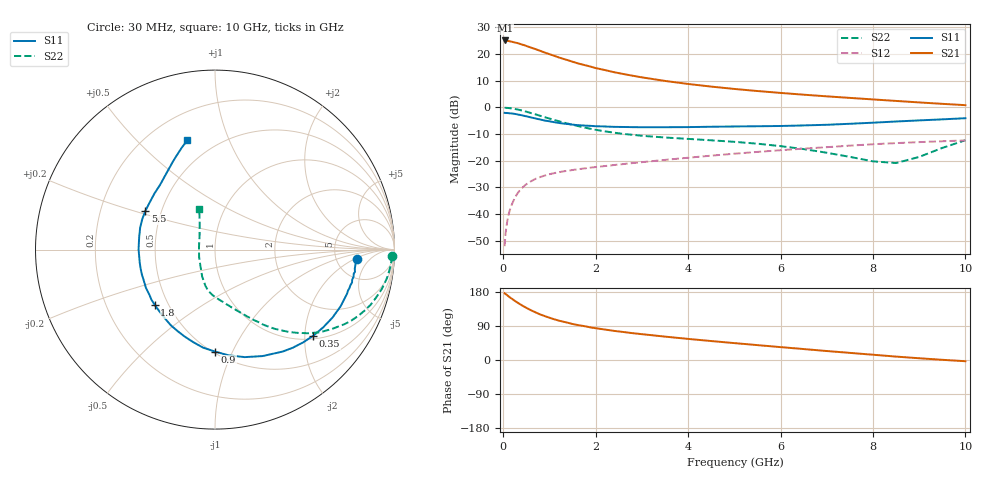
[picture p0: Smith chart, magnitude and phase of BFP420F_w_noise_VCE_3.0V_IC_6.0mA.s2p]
! Infineon Technologies  Discrete & RF Semiconductors
! BFP420F
! VCE =  3.0 V,  IC =  6.0 mA
! Common Emitter S-Parameters:  Sep 2011
# GHz  S  MA  R  50
!  f  S11  S21  S12  S22
! GHz  MAG  ANG  MAG  ANG  MAG  ANG  MAG  ANG
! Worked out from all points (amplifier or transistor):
!   54 points, 30 MHz to 10 GHz, reference 50 ohm
!   highest |S21| = 25.1 dB at 40 MHz (marker M1)
!   |S21| within 3 dB of that: start of sweep to 655.3 MHz
!   unconditionally stable (mu >= 1): 2.432 GHz to end of sweep
!   at 120 MHz: K = 0.12, MSG = 32.4 dB, |S12| = -39.9 dB
!   at 1.3 GHz: K = 0.59, MSG = 21.1 dB, |S12| = -24.0 dB
!   at 10 GHz: K = 1.34, MAG = 3.1 dB, |S12| = -12.4 dB
!   lowest NFmin = 1.00 dB at 450 MHz
!   S11 on the Smith chart (normalised r, x): 30 MHz: 8.05, -2.15; 350 MHz: 1.08, -2.20; 900 MHz: 0.51, -0.86; 1.8 GHz: 0.42, -0.33; 5.5 GHz: 0.41, +0.22; 10 GHz: 0.36, +0.72
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0.03  0.7923 -3.6  18.05 176.2  0.0025 86.9  0.986 -2.1
0.04  0.7908 -4.8  18.06 175.2  0.0033 86.1  0.9853 -2.7
0.1  0.7824 -12.4  17.82 169.4  0.0084 82.3  0.978 -6.8
0.15  0.7756 -18.5  17.35 164.7  0.0124 80.6  0.9678 -10.2
0.25  0.7562 -30.1  16.54 156.2  0.02 75.4  0.9369 -16.5
0.35  0.7276 -41.3  15.71 148.3  0.0272 71.1  0.8992 -22.3
0.45  0.6977 -51.6  14.76 141.0  0.0335 66.8  0.8566 -27.5
0.6  0.6498 -65.9  13.27 131.3  0.0412 61.3  0.7853 -34.4
0.7  0.6217 -74.5  12.41 125.6  0.0458 58.4  0.7419 -38.4
0.8  0.5937 -82.7  11.54 120.2  0.0495 55.8  0.6978 -41.9
0.9  0.5682 -90.0  10.7 115.8  0.0528 53.7  0.6564 -45.0
1.2  0.5125 -109.5  8.684 104.0  0.0609 49.3  0.5526 -53.0
1.5  0.4761 -125.2  7.216 95.0  0.0671 46.9  0.473 -58.9
1.7  0.4603 -133.8  6.424 90.5  0.0708 45.9  0.43 -62.6
1.8  0.4554 -137.6  6.112 88.4  0.0727 45.7  0.4124 -64.4
2.4  0.4325 -156.7  4.579 76.8  0.0833 44.4  0.3363 -73.8
3.5  0.4259 179.8  3.147 61.7  0.1038 43.7  0.273 -87.2
4.5  0.4347 163.6  2.462 50.0  0.1247 41.9  0.242 -96.5
5.5  0.444 150.8  2.034 39.3  0.1466 38.9  0.2091 -104.8
7  0.4733 130.2  1.616 23.7  0.1799 32.8  0.1414 -122.7
8.5  0.5453 115.3  1.325 9.0  0.2144 24.8  0.0907 169.6
10  0.6283 104.2  1.104 -3.2  0.2411 16.5  0.2425 111.2
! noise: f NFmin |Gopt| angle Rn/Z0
0.45  1  0.17  17  0.17
0.9  1.02  0.18  42  0.16
1.9  1.19  0.16  110  0.13
2.4  1.27  0.18  119  0.15
3.5  1.56  0.23  155  0.19
